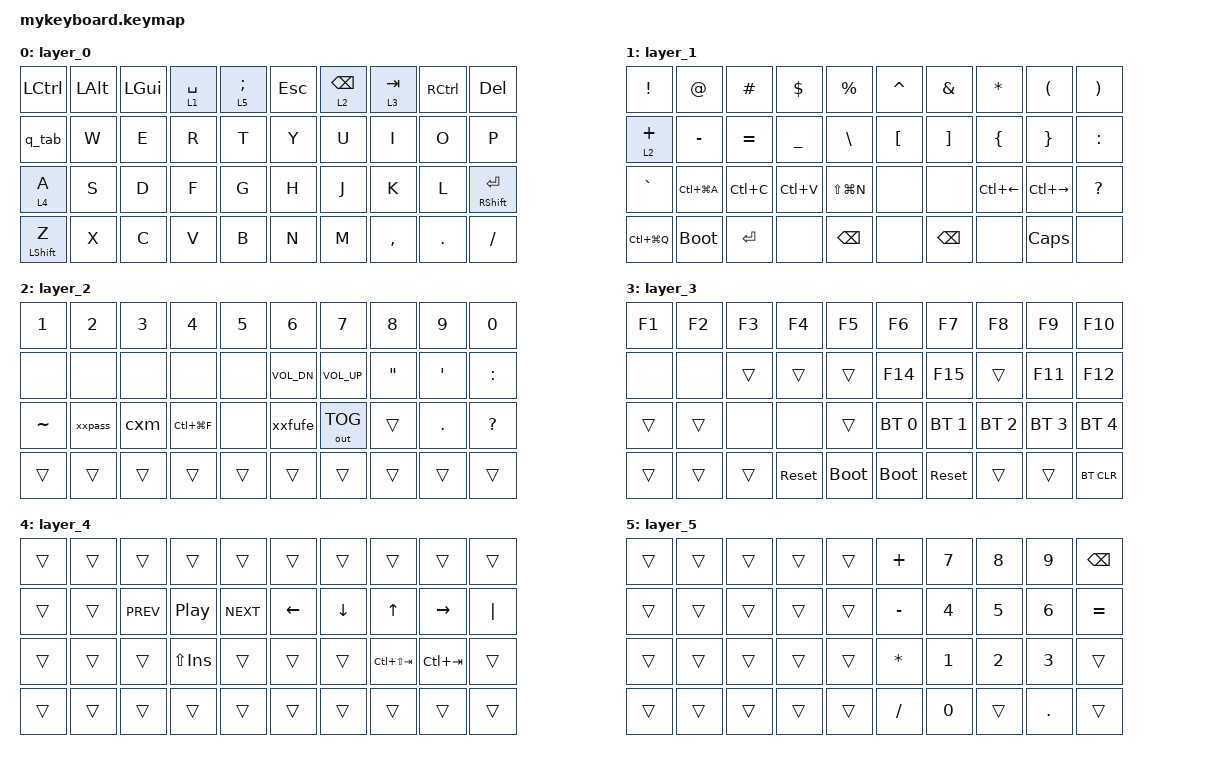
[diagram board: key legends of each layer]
#include <behaviors.dtsi>
#include <dt-bindings/zmk/bt.h>
#include <dt-bindings/zmk/keys.h>
#include <dt-bindings/zmk/outputs.h>

/ {
    macros {
        cxm: cxm {
            compatible = "zmk,behavior-macro";
            label = "CXM";
            #binding-cells = <0>;            bindings = <&kp C &kp H &kp U &kp X &kp I &kp A &kp N &kp M &kp I &kp N &kp G>;
            wait-ms = <1>;
            tap-ms = <1>;
        };

        xxpass: xxpass {
            compatible = "zmk,behavior-macro";
            label = "XXPASS";
            #binding-cells = <0>;
            bindings = <&kp N1 &kp N3 &kp N1 &kp N4 &kp N5 &kp N2 &kp N0>;
            wait-ms = <1>;
            tap-ms = <1>;
        };

        xxfufe: xxfufe {
            compatible = "zmk,behavior-macro";
            label = "XXFUFE";
            #binding-cells = <0>;
            bindings = <&kp F &kp U &kp F &kp E &kp P &kp N &kp D &kp C>;
            wait-ms = <1>;
            tap-ms = <1>;
        };
    };

    behaviors {
        q_tab: q_tab {
            compatible = "zmk,behavior-mod-morph";
            label = "Q_TAB";
            bindings = <&kp Q>, <&kp TAB>;

            #binding-cells = <0>;
            mods = <(MOD_LGUI)>;
            keep-mods = <(MOD_LGUI)>;
        };
    };

    keymap {
        compatible = "zmk,keymap";

        layer_0 {
            bindings = <
  &kp LCTRL         &kp LEFT_ALT  &kp LEFT_GUI  &lt 1 SPACE  &lt 5 SEMI    &kp ESC  &lt 2 BACKSPACE  &lt 3 TAB  &kp RCTRL  &kp DELETE
  &q_tab            &kp W         &kp E         &kp R        &kp T         &kp Y    &kp U            &kp I      &kp O      &kp P
  &lt 4 A           &kp S         &kp D         &kp F        &kp G         &kp H    &kp J            &kp K      &kp L      &mt RIGHT_SHIFT RETURN
  &mt LEFT_SHIFT Z  &kp X         &kp C         &kp V        &kp B         &kp N    &kp M            &kp COMMA  &kp DOT    &kp SLASH
            >;
        };

        layer_1 {
            bindings = <
  &kp EXCLAMATION  &kp AT_SIGN    &kp HASH   &kp DOLLAR  &kp PERCENT      &kp CARET  &kp AMPS       &kp ASTRK     &kp LPAR       &kp RPAR
  &lt 2 PLUS       &kp MINUS      &kp EQUAL  &kp UNDER   &kp BSLH         &kp LBKT   &kp RBKT       &kp LBRC      &kp RBRC       &kp COLON
  &kp GRAVE        &kp LC(LG(A))  &kp LC(C)  &kp LC(V)   &kp LS(LG(N))    &none      &none          &kp LC(LEFT)  &kp LC(RIGHT)  &kp QMARK
  &kp LC(LG(Q))    &bootloader    &kp ENTER  &none       &kp BACKSPACE    &none      &kp BACKSPACE  &none         &kp CAPS       &none
            >;
        };

        layer_2 {
            bindings = <
  &kp NUMBER_1  &kp NUMBER_2  &kp NUMBER_3  &kp NUMBER_4   &kp NUMBER_5    &kp NUMBER_6  &kp NUMBER_7  &kp NUMBER_8       &kp NUMBER_9  &kp NUMBER_0
  &none         &none         &none         &none          &none           &kp C_VOL_DN  &kp C_VOL_UP  &kp DOUBLE_QUOTES  &kp SQT       &kp COLON
  &kp TILDE     &xxpass       &cxm          &kp LC(LG(F))  &none           &xxfufe       &out OUT_TOG  &trans             &kp DOT       &kp QUESTION
  &trans        &trans        &trans        &trans         &trans          &trans        &trans        &trans             &trans        &trans
            >;
        };

        layer_3 {
            bindings = <
  &kp F1  &kp F2  &kp F3  &kp F4      &kp F5         &kp F6        &kp F7        &kp F8        &kp F9        &kp F10
  &none   &none   &trans  &trans      &trans         &kp F14       &kp F15       &trans        &kp F11       &kp F12
  &trans  &trans  &none   &none       &trans         &bt BT_SEL 0  &bt BT_SEL 1  &bt BT_SEL 2  &bt BT_SEL 3  &bt BT_SEL 4
  &trans  &trans  &trans  &sys_reset  &bootloader    &bootloader   &sys_reset    &trans        &trans        &bt BT_CLR
            >;
        };

        layer_4 {
            bindings = <
  &trans  &trans  &trans      &trans          &trans        &trans    &trans    &trans           &trans       &trans
  &trans  &trans  &kp C_PREV  &kp C_PP        &kp C_NEXT    &kp LEFT  &kp DOWN  &kp UP           &kp RIGHT    &kp PIPE
  &trans  &trans  &trans      &kp LS(INSERT)  &trans        &trans    &trans    &kp LC(LS(TAB))  &kp LC(TAB)  &trans
  &trans  &trans  &trans      &trans          &trans        &trans    &trans    &trans           &trans       &trans
            >;
        };

        layer_5 {
            bindings = <
  &trans  &trans  &trans  &trans  &trans    &kp PLUS      &kp NUMBER_7  &kp NUMBER_8  &kp NUMBER_9  &kp BACKSPACE
  &trans  &trans  &trans  &trans  &trans    &kp MINUS     &kp NUMBER_4  &kp NUMBER_5  &kp NUMBER_6  &kp EQUAL
  &trans  &trans  &trans  &trans  &trans    &kp ASTERISK  &kp NUMBER_1  &kp NUMBER_2  &kp NUMBER_3  &trans
  &trans  &trans  &trans  &trans  &trans    &kp SLASH     &kp NUMBER_0  &trans        &kp DOT       &trans
            >;
        };
    };
};
